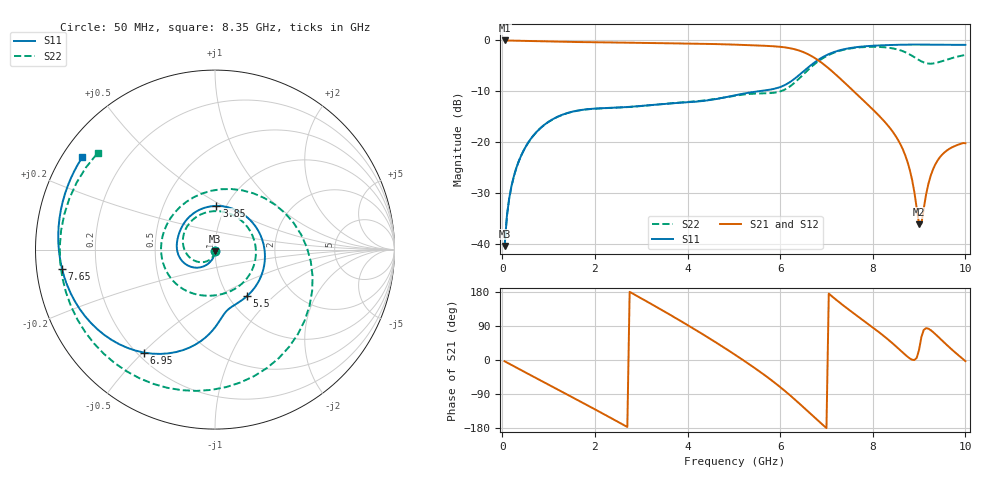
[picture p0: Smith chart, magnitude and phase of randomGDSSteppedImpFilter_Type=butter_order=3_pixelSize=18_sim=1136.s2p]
! freq	dB(S11)	phase(S11)	dB(S12)	phase(S12)
!  dB(S21)	phase(S21)	dB(S22)	phase(S22)
!S-par simulation data
#  GHz  S  DB  R 50
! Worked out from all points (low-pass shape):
!   200 points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, 50 MHz to 10 GHz, reference 50 ohm
!   highest |S21| = 0.00 dB at 50 MHz (marker M1); lowest = -36.2 dB at 9 GHz (marker M2)
!   |S21| within 3 dB of the highest: start of sweep to 6.663 GHz
!   lowest |S11| = -40.5 dB at 50 MHz (marker M3), VSWR 1.02, Z = 50 - j0.946 ohm
!   |S11| at or under -10 dB: start of sweep to 5.538 GHz
!   |S22| runs from -40.5 to -1.3 dB; largest |S21 - S12| = 0
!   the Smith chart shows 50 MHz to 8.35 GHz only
!   S11 on the Smith chart (normalised r, x): 50 MHz: 1.00, -0.02; 3.85 GHz: 0.90, +0.47; 5.5 GHz: 1.21, -0.70; 6.95 GHz: 0.23, -0.50; 7.65 GHz: 0.08, -0.06; 8.35 GHz: 0.06, +0.31
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0.05  -40.47 -92.3  -0.00 -3.3  -0.00 -3.3  -40.50 -93.6
0.2  -28.61 -100.1  -0.03 -13.2  -0.03 -13.2  -28.63 -105.3
0.5  -21.00 -116.4  -0.08 -32.8  -0.08 -32.8  -21.03 -129.7
1.75  -13.63 -174.4  -0.33 -113.8  -0.33 -113.8  -13.65 125.6
2.6  -13.16 155.1  -0.43 -170.0  -0.43 -170.0  -13.19 43.9
3.4  -12.56 118.8  -0.53 135.1  -0.53 135.1  -12.56 -29.0
3.85  -12.27 88.3  -0.59 103.1  -0.59 103.1  -12.22 -62.0
4.4  -11.84 40.2  -0.67 62.6  -0.67 62.6  -11.78 -95.0
5.05  -10.75 -21.1  -0.84 12.0  -0.84 12.0  -10.85 -135.5
5.5  -10.05 -55.7  -0.99 -25.4  -0.99 -25.4  -10.45 -176.3
6.15  -8.54 -83.6  -1.43 -86.5  -1.43 -86.5  -9.42 84.5
6.7  -4.62 -107.7  -3.19 -146.9  -3.19 -146.9  -4.99 -15.2
6.95  -3.14 -124.6  -4.77 -174.3  -4.77 -174.3  -3.34 -52.6
7.3  -1.90 -149.5  -7.54 150.0  -7.54 150.0  -2.00 -97.4
7.65  -1.32 -172.8  -10.54 117.6  -10.54 117.6  -1.42 -136.7
8  -1.04 165.6  -13.59 85.9  -13.59 85.9  -1.26 -175.4
8.35  -0.91 145.2  -17.00 52.1  -17.00 52.1  -1.44 140.6
8.7  -0.83 125.4  -22.58 14.0  -22.58 14.0  -2.31 80.8
9  -0.81 108.8  -36.21 27.1  -36.21 27.1  -3.87 6.1
9.4  -0.85 87.2  -23.62 62.7  -23.62 62.7  -4.35 -106.9
9.7  -0.86 71.4  -21.10 28.4  -21.10 28.4  -3.50 -168.4
10  -0.87 55.9  -20.23 -2.9  -20.23 -2.9  -2.85 145.1
